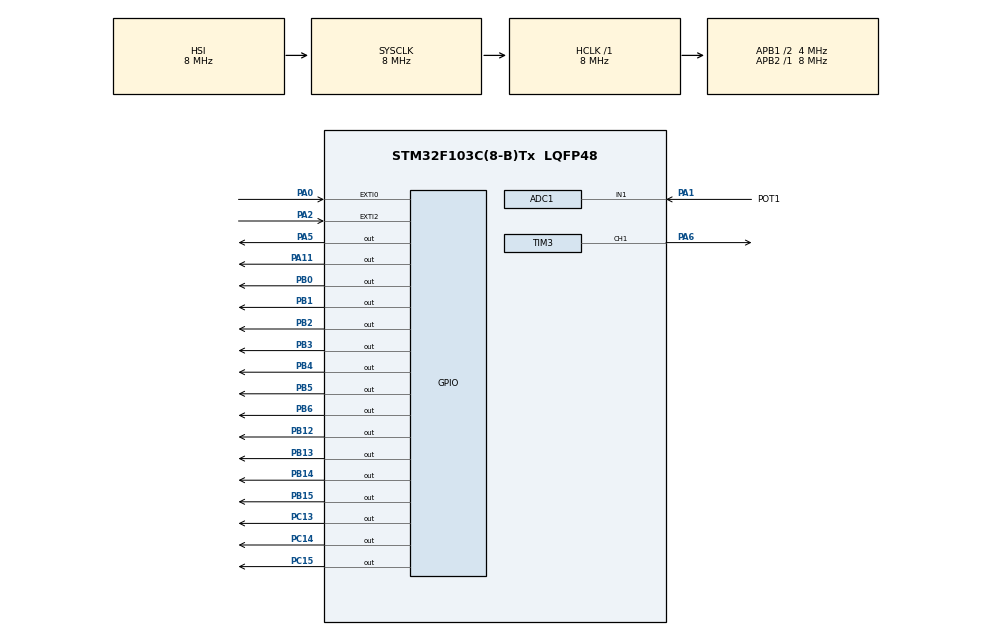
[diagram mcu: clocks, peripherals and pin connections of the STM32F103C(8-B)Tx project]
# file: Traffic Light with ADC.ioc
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ADC1.Channel-2\#ChannelRegularConversion=ADC_CHANNEL_1
ADC1.ContinuousConvMode=ENABLE
ADC1.NbrOfConversionFlag=1
ADC1.Rank-2\#ChannelRegularConversion=1
ADC1.SamplingTime-2\#ChannelRegularConversion=ADC_SAMPLETIME_1CYCLE_5
ADC1.master=1
Mcu.Family=STM32F1
Mcu.Name=STM32F103C(8-B)Tx
Mcu.Package=LQFP48
NVIC.EXTI0_IRQn=true\:0\:0\:false\:false\:true\:true\:true\:true
NVIC.EXTI2_IRQn=true\:1\:0\:true\:false\:true\:true\:true\:true
NVIC.PriorityGroup=NVIC_PRIORITYGROUP_4
NVIC.TIM2_IRQn=true\:2\:0\:true\:false\:true\:true\:true\:true
PA0-WKUP.GPIO_PuPd=GPIO_PULLUP
PA0-WKUP.Signal=GPXTI0
PA1.GPIO_Label=POT1
PA1.Signal=SharedAnalog_PA1
PA11.Signal=GPIO_Output
PA2.GPIO_PuPd=GPIO_PULLUP
PA2.Signal=GPXTI2
PA5.Signal=GPIO_Output
PA6.Signal=S_TIM3_CH1
PB0.Signal=GPIO_Output
PB1.Signal=GPIO_Output
PB12.Signal=GPIO_Output
PB13.Signal=GPIO_Output
PB14.Signal=GPIO_Output
PB15.Signal=GPIO_Output
PB2.Signal=GPIO_Output
PB3.Signal=GPIO_Output
PB4.Signal=GPIO_Output
PB5.Signal=GPIO_Output
PB6.Signal=GPIO_Output
PC13-TAMPER-RTC.Signal=GPIO_Output
PC14-OSC32_IN.Signal=GPIO_Output
PC15-OSC32_OUT.Signal=GPIO_Output
PD0-OSC_IN.Mode=HSE-External-Oscillator
PD0-OSC_IN.Signal=RCC_OSC_IN
PD1-OSC_OUT.Mode=HSE-External-Oscillator
PD1-OSC_OUT.Signal=RCC_OSC_OUT
ProjectManager.HeapSize=0x200
ProjectManager.StackSize=0x400
ProjectManager.TargetToolchain=STM32CubeIDE
RCC.ADCPresc=RCC_ADCPCLK2_DIV6
RCC.AHBFreq_Value=8000000
RCC.APB1CLKDivider=RCC_HCLK_DIV2
RCC.APB1Freq_Value=4000000
RCC.APB1TimFreq_Value=8000000
RCC.APB2Freq_Value=8000000
RCC.APB2TimFreq_Value=8000000
RCC.HCLKFreq_Value=8000000
RCC.PLLMUL=RCC_PLL_MUL9
RCC.PLLSourceVirtual=RCC_PLLSOURCE_HSE
RCC.SYSCLKFreq_VALUE=8000000
RCC.USBFreq_Value=72000000
SH.S_TIM3_CH1.0=TIM3_CH1,PWM Generation1 CH1
SH.SharedAnalog_PA1.0=GPIO_Analog
SH.SharedAnalog_PA1.1=ADC1_IN1,IN1
TIM2.Period=250-1
TIM2.Prescaler=8000-1
TIM3.Channel-PWM\ Generation1\ CH1=TIM_CHANNEL_1
TIM3.Period=1000-1
TIM3.Prescaler=8-1
VP_SYS_VS_ND.Mode=No_Debug
VP_TIM2_VS_ClockSourceINT.Mode=Internal
VP_TIM3_VS_ClockSourceINT.Mode=Internal
board=custom

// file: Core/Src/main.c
/* USER CODE BEGIN Header */
/**
  ******************************************************************************
  * @file           : main.c
  * @brief          : Traffic Light + LCD + ADC4bit + Timer + Interrupt Priorities
  *
  * Pins used (adjust if you used different mapping):
  *   PC13 -> RED LED
  *   PC14 -> YELLOW LED
  *   PC15 -> GREEN LED
  *   PA0  -> RUN/STOP Button (EXTI0 - HIGH priority)
  *   PA2  -> EMERGENCY Button (EXTI2 - LOW priority)
  *   PA1  -> ADC1_IN1 (POTENTIOMETER)  (12-bit ADC)
  *   PB0..PB5 -> LCD (your lcd.c should already use PB0..PB5)
  *
  ******************************************************************************
  */
/* USER CODE END Header */
#include "main.h"

/* USER CODE BEGIN Includes */
#include "lcd.h"
#include <stdio.h>
/* USER CODE END Includes */

ADC_HandleTypeDef hadc1;

TIM_HandleTypeDef htim2;
TIM_HandleTypeDef htim3;

/* USER CODE BEGIN PV */
/* ADC raw value from DMA (12-bit) */
volatile uint32_t adc_raw = 0;

/* Processed and shared variables (updated in ADC callback or TIM tick) */
volatile float adc_voltage = 0.0f;   /* volts */
volatile uint8_t adc_4bit = 0;       /* 0..15 */

volatile uint8_t traffic_on = 1;     /* 1 = running, 0 = stopped */
volatile uint8_t emergency_flag = 0; /* 1 = emergency */
volatile uint8_t state = 0;          /* 0=RED,1=YELLOW,2=GREEN */

/* motor duty placeholder (apply as PWM duty if you add a PWM channel) */
volatile uint8_t motor_duty_percent = 0;

/* timing and debounce */
#define EXTI_DEBOUNCE_MS 200
volatile uint32_t last_exti0 = 0;
volatile uint32_t last_exti2 = 0;

volatile uint8_t lcd_update_needed = 0;

/* LCD buffer */
char lcd_line2[20];
/* USER CODE END PV */

void SystemClock_Config(void);
static void MX_GPIO_Init(void);
static void MX_TIM2_Init(void);
static void MX_TIM3_Init(void);
static void MX_ADC1_Init(void);

/* USER CODE BEGIN 0 */

/* Update 4-bit LED outputs (PB4..PB7) to show bits b3..b0 */
static void update_adc_leds(uint8_t value4)
{
  // value4 is 0..15
	HAL_GPIO_WritePin(GPIOB, GPIO_PIN_12, (value4 & 0x8) ? GPIO_PIN_SET : GPIO_PIN_RESET); // bit3 -> PB12
	HAL_GPIO_WritePin(GPIOB, GPIO_PIN_13, (value4 & 0x4) ? GPIO_PIN_SET : GPIO_PIN_RESET); // bit2 -> PB13
	HAL_GPIO_WritePin(GPIOB, GPIO_PIN_14, (value4 & 0x2) ? GPIO_PIN_SET : GPIO_PIN_RESET); // bit1 -> PB14
	HAL_GPIO_WritePin(GPIOB, GPIO_PIN_15, (value4 & 0x1) ? GPIO_PIN_SET : GPIO_PIN_RESET); // bit0 -> PB15

}

/* Refresh LCD lines based on current mode and ADC */
static void show_status_on_lcd(void)
{
    static uint8_t last_state = 0xFF;
    static uint8_t last_traffic_on = 0xFF;
    static uint8_t last_emergency_flag = 0xFF;

    char line[20];

    // Always update Line 2 (ADC values), only refresh Line 1 when state changes
    if(state != last_state || traffic_on != last_traffic_on || emergency_flag != last_emergency_flag)
    {
        last_state = state;
        last_traffic_on = traffic_on;
        last_emergency_flag = emergency_flag;

        LCD_Clear();

        if(!traffic_on)
        {
            LCD_SetCursor(0,0);
            LCD_Print("Traffic: STOPPED ");
            // Line 2 will still show ADC
        }
        else if(emergency_flag)
        {
            LCD_SetCursor(0,0);
            LCD_Print("EMERGENCY");
        }
        else
        {
            LCD_SetCursor(0,0);
            if(state == 0) LCD_Print("Red Light");
            else if(state == 1) LCD_Print("Yellow Light");
            else if(state == 2) LCD_Print("Green Light");
        }
    }

    LCD_SetCursor(1,0);
    snprintf(line, sizeof(line), "V=%.2fV  B=%2u", adc_voltage, adc_4bit);
    LCD_Print(line);
    update_adc_leds(adc_4bit);

}

// Call this whenever you want to set motor speed 0..100%
void set_motor_speed(uint8_t speed_percent)
{
    if(speed_percent > 100) speed_percent = 100;  // clamp max
    motor_duty_percent = speed_percent;

    // Apply to PWM channel (TIM3_CH1)
    __HAL_TIM_SET_COMPARE(&htim3, TIM_CHANNEL_1, motor_duty_percent * 10);
}

/* EXTI callbacks (handled by HAL IRQ -> calls HAL_GPIO_EXTI_Callback) */
void HAL_GPIO_EXTI_Callback(uint16_t GPIO_Pin)
{
    uint32_t t = HAL_GetTick();

    if (GPIO_Pin == GPIO_PIN_0) { /* RUN/STOP: EXTI0 (HIGH priority) */
        if ((t - last_exti0) > EXTI_DEBOUNCE_MS) {
            last_exti0 = t;
            traffic_on = !traffic_on;

            if (!traffic_on) {
                /* Traffic OFF -> turn all lights OFF */
                HAL_GPIO_WritePin(GPIOC, GPIO_PIN_13|GPIO_PIN_14|GPIO_PIN_15, GPIO_PIN_RESET);
                motor_duty_percent = 0;
            } else {
                /* Traffic ON -> restore normal duty */
                motor_duty_percent = 50;
            }

            lcd_update_needed = 1; // update LCD immediately
        }
    }
    else if (GPIO_Pin == GPIO_PIN_2) { /* EMERGENCY: EXTI2 (LOW priority) */
        if ((t - last_exti2) > EXTI_DEBOUNCE_MS) {
            last_exti2 = t;

            if (!traffic_on) {
                /* Traffic is OFF -> ignore emergency */
                return;
            }

            emergency_flag = !emergency_flag;

            if (emergency_flag) {
                /* Force RED blinking */
                HAL_GPIO_WritePin(GPIOC, GPIO_PIN_14|GPIO_PIN_15, GPIO_PIN_RESET);
                HAL_GPIO_WritePin(GPIOC, GPIO_PIN_13, GPIO_PIN_SET);
                state = 0;
                motor_duty_percent = 75;
            } else {
                /* back to normal traffic */
                motor_duty_percent = 50;
            }

            lcd_update_needed = 1; // update LCD immediately
        }
    }
}

/* USER CODE END 0 */

int main(void)
{

  /* USER CODE BEGIN 1 */
  // User variables or early initialization can go here
  /* USER CODE END 1 */

  /* MCU Configuration--------------------------------------------------------*/

  /* Reset of all peripherals, Initializes the Flash interface and the Systick. */
  HAL_Init();

  /* USER CODE BEGIN Init */
  // Any low-level init code before system clock config can go here
  /* USER CODE END Init */

  /* Configure the system clock */
  SystemClock_Config();

  /* USER CODE BEGIN SysInit */
  // Additional system-level configurations can go here
  /* USER CODE END SysInit */

  /* Initialize all configured peripherals */
  MX_GPIO_Init();
  MX_TIM2_Init();
  MX_TIM3_Init();
  MX_ADC1_Init();

  /* USER CODE BEGIN 2 */

  LCD_Init();                          // Initialize LCD
  HAL_TIM_Base_Start_IT(&htim2);       // Start TIM2 with interrupt enabled
  HAL_TIM_PWM_Start(&htim3, TIM_CHANNEL_1);

  set_motor_speed(0);   // normal speed
  /* USER CODE END 2 */

  /* Infinite loop */
  while (1)
  {

    /* USER CODE BEGIN 3 */
    // Update LCD only when needed
    if(lcd_update_needed)
    {
        show_status_on_lcd();
        lcd_update_needed = 0;

    }
  }
  /* USER CODE END 3 */
}

void SystemClock_Config(void)
{
  RCC_OscInitTypeDef RCC_OscInitStruct = {0};
  RCC_ClkInitTypeDef RCC_ClkInitStruct = {0};
  RCC_PeriphCLKInitTypeDef PeriphClkInit = {0};

  /** Initializes the RCC Oscillators according to the specified parameters
  * in the RCC_OscInitTypeDef structure.
  */
  RCC_OscInitStruct.OscillatorType = RCC_OSCILLATORTYPE_HSI;
  RCC_OscInitStruct.HSIState = RCC_HSI_ON;
  RCC_OscInitStruct.HSICalibrationValue = RCC_HSICALIBRATION_DEFAULT;
  RCC_OscInitStruct.PLL.PLLState = RCC_PLL_NONE;
  if (HAL_RCC_OscConfig(&RCC_OscInitStruct) != HAL_OK)
  {
    Error_Handler();
  }

  /** Initializes the CPU, AHB and APB buses clocks
  */
  RCC_ClkInitStruct.ClockType = RCC_CLOCKTYPE_HCLK|RCC_CLOCKTYPE_SYSCLK
                              |RCC_CLOCKTYPE_PCLK1|RCC_CLOCKTYPE_PCLK2;
  RCC_ClkInitStruct.SYSCLKSource = RCC_SYSCLKSOURCE_HSI;
  RCC_ClkInitStruct.AHBCLKDivider = RCC_SYSCLK_DIV1;
  RCC_ClkInitStruct.APB1CLKDivider = RCC_HCLK_DIV2;
  RCC_ClkInitStruct.APB2CLKDivider = RCC_HCLK_DIV1;

  if (HAL_RCC_ClockConfig(&RCC_ClkInitStruct, FLASH_LATENCY_0) != HAL_OK)
  {
    Error_Handler();
  }
  PeriphClkInit.PeriphClockSelection = RCC_PERIPHCLK_ADC;
  PeriphClkInit.AdcClockSelection = RCC_ADCPCLK2_DIV6;
  if (HAL_RCCEx_PeriphCLKConfig(&PeriphClkInit) != HAL_OK)
  {
    Error_Handler();
  }
}

static void MX_ADC1_Init(void)
{

  ADC_ChannelConfTypeDef sConfig = {0};

  /** Common config
  */
  hadc1.Instance = ADC1;
  hadc1.Init.ScanConvMode = ADC_SCAN_DISABLE;
  hadc1.Init.ContinuousConvMode = ENABLE;
  hadc1.Init.DiscontinuousConvMode = DISABLE;
  hadc1.Init.ExternalTrigConv = ADC_SOFTWARE_START;
  hadc1.Init.DataAlign = ADC_DATAALIGN_RIGHT;
  hadc1.Init.NbrOfConversion = 1;
  if (HAL_ADC_Init(&hadc1) != HAL_OK)
  {
    Error_Handler();
  }

  /** Configure Regular Channel
  */
  sConfig.Channel = ADC_CHANNEL_1;
  sConfig.Rank = ADC_REGULAR_RANK_1;
  sConfig.SamplingTime = ADC_SAMPLETIME_1CYCLE_5;
  if (HAL_ADC_ConfigChannel(&hadc1, &sConfig) != HAL_OK)
  {
    Error_Handler();
  }

}

static void MX_TIM2_Init(void)
{

  TIM_ClockConfigTypeDef sClockSourceConfig = {0};
  TIM_MasterConfigTypeDef sMasterConfig = {0};

  htim2.Instance = TIM2;
  htim2.Init.Prescaler = 8000-1;
  htim2.Init.CounterMode = TIM_COUNTERMODE_UP;
  htim2.Init.Period = 250-1;
  htim2.Init.ClockDivision = TIM_CLOCKDIVISION_DIV1;
  htim2.Init.AutoReloadPreload = TIM_AUTORELOAD_PRELOAD_DISABLE;
  if (HAL_TIM_Base_Init(&htim2) != HAL_OK)
  {
    Error_Handler();
  }
  sClockSourceConfig.ClockSource = TIM_CLOCKSOURCE_INTERNAL;
  if (HAL_TIM_ConfigClockSource(&htim2, &sClockSourceConfig) != HAL_OK)
  {
    Error_Handler();
  }
  sMasterConfig.MasterOutputTrigger = TIM_TRGO_RESET;
  sMasterConfig.MasterSlaveMode = TIM_MASTERSLAVEMODE_DISABLE;
  if (HAL_TIMEx_MasterConfigSynchronization(&htim2, &sMasterConfig) != HAL_OK)
  {
    Error_Handler();
  }

}

static void MX_TIM3_Init(void)
{

  TIM_ClockConfigTypeDef sClockSourceConfig = {0};
  TIM_MasterConfigTypeDef sMasterConfig = {0};
  TIM_OC_InitTypeDef sConfigOC = {0};

  htim3.Instance = TIM3;
  htim3.Init.Prescaler = 8-1;
  htim3.Init.CounterMode = TIM_COUNTERMODE_UP;
  htim3.Init.Period = 1000-1;
  htim3.Init.ClockDivision = TIM_CLOCKDIVISION_DIV1;
  htim3.Init.AutoReloadPreload = TIM_AUTORELOAD_PRELOAD_DISABLE;
  if (HAL_TIM_Base_Init(&htim3) != HAL_OK)
  {
    Error_Handler();
  }
  sClockSourceConfig.ClockSource = TIM_CLOCKSOURCE_INTERNAL;
  if (HAL_TIM_ConfigClockSource(&htim3, &sClockSourceConfig) != HAL_OK)
  {
    Error_Handler();
  }
  if (HAL_TIM_PWM_Init(&htim3) != HAL_OK)
  {
    Error_Handler();
  }
  sMasterConfig.MasterOutputTrigger = TIM_TRGO_RESET;
  sMasterConfig.MasterSlaveMode = TIM_MASTERSLAVEMODE_DISABLE;
  if (HAL_TIMEx_MasterConfigSynchronization(&htim3, &sMasterConfig) != HAL_OK)
  {
    Error_Handler();
  }
  sConfigOC.OCMode = TIM_OCMODE_PWM1;
  sConfigOC.Pulse = 0;
  sConfigOC.OCPolarity = TIM_OCPOLARITY_HIGH;
  sConfigOC.OCFastMode = TIM_OCFAST_DISABLE;
  if (HAL_TIM_PWM_ConfigChannel(&htim3, &sConfigOC, TIM_CHANNEL_1) != HAL_OK)
  {
    Error_Handler();
  }
  HAL_TIM_MspPostInit(&htim3);

}

static void MX_GPIO_Init(void)
{
  GPIO_InitTypeDef GPIO_InitStruct = {0};

  /* GPIO Ports Clock Enable */
  __HAL_RCC_GPIOC_CLK_ENABLE();
  __HAL_RCC_GPIOD_CLK_ENABLE();
  __HAL_RCC_GPIOA_CLK_ENABLE();
  __HAL_RCC_GPIOB_CLK_ENABLE();

  /*Configure GPIO pin Output Level */
  HAL_GPIO_WritePin(GPIOC, GPIO_PIN_13|GPIO_PIN_14|GPIO_PIN_15, GPIO_PIN_RESET);

  /*Configure GPIO pin Output Level */
  HAL_GPIO_WritePin(GPIOA, GPIO_PIN_5|GPIO_PIN_11, GPIO_PIN_RESET);

  /*Configure GPIO pin Output Level */
  HAL_GPIO_WritePin(GPIOB, GPIO_PIN_0|GPIO_PIN_1|GPIO_PIN_2|GPIO_PIN_12
                          |GPIO_PIN_13|GPIO_PIN_14|GPIO_PIN_15|GPIO_PIN_3
                          |GPIO_PIN_4|GPIO_PIN_5|GPIO_PIN_6, GPIO_PIN_RESET);

  /*Configure GPIO pins : PC13 PC14 PC15 */
  GPIO_InitStruct.Pin = GPIO_PIN_13|GPIO_PIN_14|GPIO_PIN_15;
  GPIO_InitStruct.Mode = GPIO_MODE_OUTPUT_PP;
  GPIO_InitStruct.Pull = GPIO_NOPULL;
  GPIO_InitStruct.Speed = GPIO_SPEED_FREQ_LOW;
  HAL_GPIO_Init(GPIOC, &GPIO_InitStruct);

  /*Configure GPIO pins : PA0 PA2 */
  GPIO_InitStruct.Pin = GPIO_PIN_0|GPIO_PIN_2;
  GPIO_InitStruct.Mode = GPIO_MODE_IT_RISING;
  GPIO_InitStruct.Pull = GPIO_PULLUP;
  HAL_GPIO_Init(GPIOA, &GPIO_InitStruct);

  /*Configure GPIO pins : PA5 PA11 */
  GPIO_InitStruct.Pin = GPIO_PIN_5|GPIO_PIN_11;
  GPIO_InitStruct.Mode = GPIO_MODE_OUTPUT_PP;
  GPIO_InitStruct.Pull = GPIO_NOPULL;
  GPIO_InitStruct.Speed = GPIO_SPEED_FREQ_LOW;
  HAL_GPIO_Init(GPIOA, &GPIO_InitStruct);

  /*Configure GPIO pins : PB0 PB1 PB2 PB12
                           PB13 PB14 PB15 PB3
                           PB4 PB5 PB6 */
  GPIO_InitStruct.Pin = GPIO_PIN_0|GPIO_PIN_1|GPIO_PIN_2|GPIO_PIN_12
                          |GPIO_PIN_13|GPIO_PIN_14|GPIO_PIN_15|GPIO_PIN_3
                          |GPIO_PIN_4|GPIO_PIN_5|GPIO_PIN_6;
  GPIO_InitStruct.Mode = GPIO_MODE_OUTPUT_PP;
  GPIO_InitStruct.Pull = GPIO_NOPULL;
  GPIO_InitStruct.Speed = GPIO_SPEED_FREQ_LOW;
  HAL_GPIO_Init(GPIOB, &GPIO_InitStruct);

  /* EXTI interrupt init*/
  HAL_NVIC_SetPriority(EXTI0_IRQn, 0, 0);
  HAL_NVIC_EnableIRQ(EXTI0_IRQn);

  HAL_NVIC_SetPriority(EXTI2_IRQn, 1, 0);
  HAL_NVIC_EnableIRQ(EXTI2_IRQn);

}

/* USER CODE BEGIN 4 */
void HAL_TIM_PeriodElapsedCallback(TIM_HandleTypeDef *htim)
{
    if(htim->Instance == TIM2)
    {
        static uint8_t color = 0;      // Normal traffic: 0=RED,1=YELLOW,2=GREEN
        static uint8_t half_sec = 0;   // Counts 0..7 for 0.5s ON/OFF cycles

        // Turn all traffic lights OFF first
        HAL_GPIO_WritePin(GPIOC, GPIO_PIN_13|GPIO_PIN_14|GPIO_PIN_15, GPIO_PIN_RESET);

        if(!traffic_on)
        {
            // Traffic OFF -> keep all LEDs off
        }
        else if(emergency_flag)
        {
            // Emergency active -> RED blinking
            if(half_sec % 2 == 0)
                HAL_GPIO_WritePin(GPIOC, GPIO_PIN_13, GPIO_PIN_SET);
        }
        else
        {
            // Normal traffic cycle
            if(half_sec % 2 == 0)
            {
                switch(color)
                {
                    case 0: HAL_GPIO_WritePin(GPIOC, GPIO_PIN_13, GPIO_PIN_SET); break; // RED
                    case 1: HAL_GPIO_WritePin(GPIOC, GPIO_PIN_14, GPIO_PIN_SET); break; // YELLOW
                    case 2: HAL_GPIO_WritePin(GPIOC, GPIO_PIN_15, GPIO_PIN_SET); break; // GREEN
                }
            }

            // Advance normal traffic color every 4 half_sec cycles
            if(half_sec >= 7)
                color = (color + 1) % 3;
        }

        // Update half_sec counter
        half_sec = (half_sec + 1) % 8;

        // Update global state for LCD
        state = (emergency_flag ? 0 : color);

        // ---- ADC Polling ----
        HAL_ADC_Start(&hadc1);                                   // Start conversion
           if (HAL_ADC_PollForConversion(&hadc1, 10) == HAL_OK)     // Wait (timeout 10ms)
           {
               adc_raw = HAL_ADC_GetValue(&hadc1);                  // 12-bit result (0..4095)
               adc_voltage = (adc_raw * 3.3f) / 4095.0f;            // Convert to volts
               adc_4bit = adc_raw >> 8;                             // Scale to 4-bit (0..15)
           }
           HAL_ADC_Stop(&hadc1);

        // Signal main loop to update LCD
        lcd_update_needed = 1;

    }
}

/* USER CODE END 4 */

void Error_Handler(void)
{
  __disable_irq();
  while (1)
  {
  }
}
